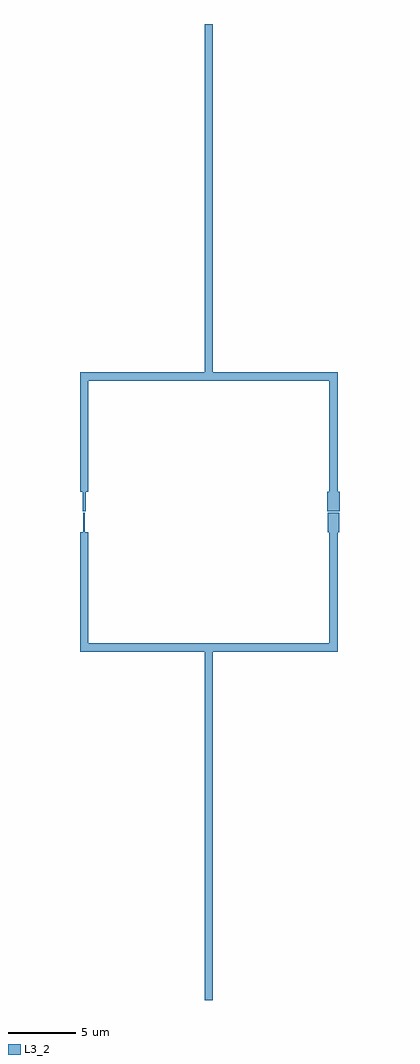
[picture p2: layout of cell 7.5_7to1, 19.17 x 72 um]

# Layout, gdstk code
import gdstk
lib = gdstk.Library(unit=1e-6, precision=1e-09)
def R(c, l, rs):  # rectangles x0, y0, x1, y1
    for r in rs: c.add(gdstk.rectangle(r[:2], r[2:], *l))
L3_2 = (3, 2)

c_7_5_7to1 = lib.new_cell('7.5_7to1')
R(c_7_5_7to1, L3_2, [(-0.385,-36,0.215,-10.3), (-9.585,-10.3,9.415,-9.7), (-9.585,-9.7,-8.985,-1.5), (8.815,-9.7,9.415,-1.5), (-9.345,-1.5,-9.225,-0.065), (8.695,-1.5,9.535,-0.065), (-9.395,0.065,-9.175,1.5), (8.645,0.065,9.585,1.5), (-9.585,1.5,-8.985,9.7), (8.815,1.5,9.415,9.7), (-9.585,9.7,9.415,10.3), (-0.385,10.3,0.215,36)])

lib.write_gds('7.5_7to1.gds')
